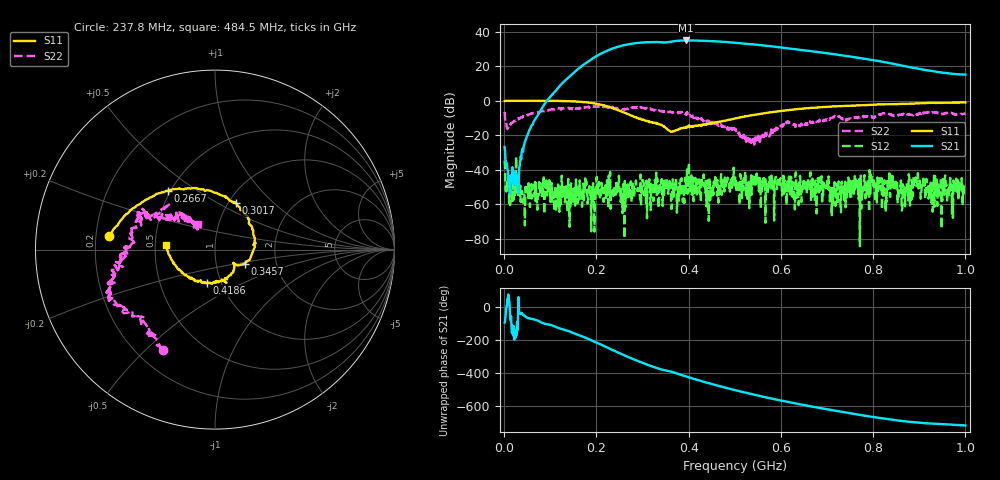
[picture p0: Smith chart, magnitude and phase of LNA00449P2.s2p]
! Created with skrf 1.9.0 (http://scikit-rf.org).
# Hz S RI R 50.0
!freq ReS11 ImS11 ReS21 ImS21 ReS12 ImS12 ReS22 ImS22
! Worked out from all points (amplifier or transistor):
!   1001 points, 1 MHz to 1 GHz, reference 50 ohm
!   highest |S21| = 35.0 dB at 394.6 MHz (marker M1)
!   |S21| within 3 dB of that: 255.8 MHz to 565.8 MHz (310 MHz wide, 75.5 % of centre)
!   unconditionally stable (mu >= 1): 230 MHz to 295.6 MHz; 295.8 MHz to 396.4 MHz; 400.8 MHz to end of sweep (the widest 3 of 33)
!   at 166.8 MHz: K = 1.79, MAG = 30.9 dB, |S12| = -52.3 dB
!   at 500.5 MHz: K = 1.48, MAG = 34.2 dB, |S12| = -42.9 dB
!   at 1 GHz: K = 4.14, MAG = 23.4 dB, |S12| = -49.9 dB
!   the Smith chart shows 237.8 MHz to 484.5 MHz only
!   S11 on the Smith chart (normalised r, x): 237.8 MHz: 0.25, +0.06; 266.7 MHz: 0.48, +0.39; 301.7 MHz: 1.09, +0.62; 345.7 MHz: 1.38, -0.22; 418.6 MHz: 0.86, -0.33; 484.5 MHz: 0.57, +0.03
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1000000  0.9809 0.00375  -0.00478 -0.0458  -0.0162 0.00941  0.3402 0.3342
1.08892e8  0.5195 -0.8486  -0.8381 -1.555  -0.000591 -0.000379  0.4297 -0.3592
1.67833e8  -0.2344 -0.8988  -10.14 -0.4178  0.0023 -0.00139  0.0444 -0.6284
2.07793e8  -0.6567 -0.418  -15.85 16.06  -0.00158 -0.000137  -0.1961 -0.6621
2.37763e8  -0.5932 0.0784  -3.324 33.81  0.00123 0.00244  -0.2874 -0.5582
2.66734e8  -0.2619 0.3287  21.82 36.95  -0.000501 0.00126  -0.461 -0.3738
3.01699e8  0.1181 0.2606  46.12 16.88  -0.00235 0.00375  -0.5975 -0.185
3.34666e8  0.2122 -0.00823  48.92 -11.01  0.000247 0.000736  -0.53 -0.04
3.45655e8  0.167 -0.0776  45.88 -17.7  -0.00122 0.00448  -0.4755 0.0138
3.71629e8  0.109 -0.0848  41.97 -34  -0.00232 0.000737  -0.4126 0.1598
3.94606e8  0.0669 -0.1621  27.91 -48.67  0.0027 0.00514  -0.3805 0.2151
4.18582e8  -0.0436 -0.1864  9.116 -54.58  0.00376 0.00353  -0.2361 0.1734
4.49551e8  -0.1799 -0.1292  -13.8 -51.6  0.00297 0.00167  -0.1516 0.171
4.84516e8  -0.2755 0.0251  -32.68 -38.28  0.00443 0.00393  -0.0962 0.1424
5.005e8  -0.2821 0.1176  -38.07 -29.91  0.00521 -0.0049  -0.1107 0.0881
5.4046e8  -0.2208 0.3186  -42.1 -8.628  0.0063 -0.00158  -0.0756 0.0192
5.85415e8  -0.048 0.4754  -35.8 10.29  1.79e-05 -0.000338  -0.1252 -0.0546
6.25375e8  0.1361 0.5386  -24.88 19.79  -0.00104 -0.00436  -0.1741 -0.1055
6.67333e8  0.3372 0.5249  -13.13 23.66  0.00146 -0.000766  -0.2266 -0.0508
7.53247e8  0.6338 0.353  4.124 18.41  0.00238 -0.00311  -0.2918 0.0284
8.34166e8  0.7834 0.1209  9.117 8.533  -0.00397 -0.00166  -0.4109 0.081
1e9  0.8008 -0.4128  5.709 0.57  0.00317 0.000425  -0.163 0.3837
